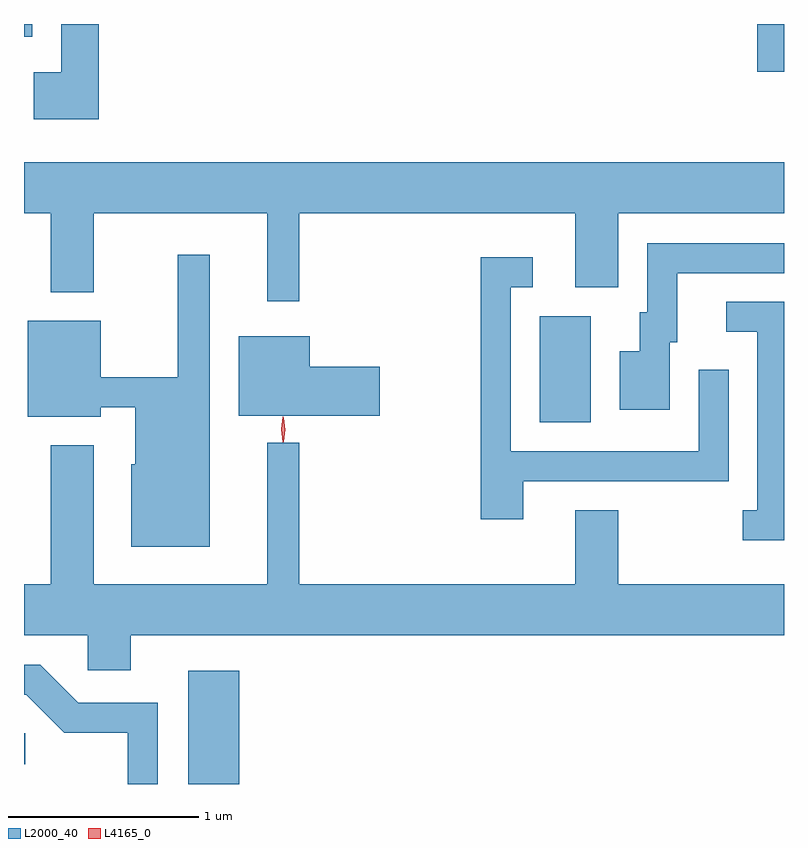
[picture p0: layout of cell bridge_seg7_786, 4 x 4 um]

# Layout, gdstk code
import gdstk
lib = gdstk.Library(unit=1e-6, precision=1e-09)
def R(c, l, rs):  # rectangles x0, y0, x1, y1
    for r in rs: c.add(gdstk.rectangle(r[:2], r[2:], *l))
def P(c, l, *ps):  # polygons
    for p in ps: c.add(gdstk.Polygon(p, *l))
L2000_40 = (2000, 40)
L4165_0 = (4165, 0)

bridge_seg7_786 = lib.new_cell('bridge_seg7_786')
R(bridge_seg7_786, L2000_40, [(378.766,1784.572,379.034,1785.169), (377.901,1784.676,377.908,1784.839), (380.616,1786.476,380.884,1787.034), (381.761,1788.321,381.901,1788.572), (377.901,1788.506,377.944,1788.572)])
P(bridge_seg7_786, L2000_40, [(378.294,1788.572),(378.096,1788.572),(378.096,1788.319),(377.951,1788.319),(377.951,1788.071),(378.294,1788.071)],
  [(379.349,1787.576),(380.801,1787.576),(380.801,1787.186),(381.029,1787.186),(381.029,1787.576),(381.901,1787.576),(381.901,1787.844),(377.901,1787.844),(377.901,1787.576),(378.041,1787.576),(378.041,1787.161),(378.269,1787.161),(378.269,1787.576),(379.181,1787.576),(379.181,1787.113),(379.349,1787.113)],
  [(381.299,1786.896),(381.339,1786.896),(381.339,1787.261),(381.901,1787.261),(381.901,1787.419),(381.181,1787.419),(381.181,1787.054),(381.141,1787.054),(381.141,1786.849),(381.036,1786.849),(381.036,1786.541),(381.299,1786.541)],
  [(378.879,1787.358),(378.711,1787.358),(378.711,1786.714),(378.304,1786.714),(378.304,1787.009),(377.921,1787.009),(377.921,1786.506),(378.304,1786.506),(378.304,1786.556),(378.486,1786.556),(378.486,1786.254),(378.466,1786.254),(378.466,1785.821),(378.879,1785.821)],
  [(380.529,1786.166),(381.609,1786.166),(381.609,1786.753),(381.451,1786.753),(381.451,1786.324),(380.464,1786.324),(380.464,1787.186),(380.578,1787.186),(380.578,1787.344),(380.306,1787.344),(380.306,1785.966),(380.529,1785.966)],
  [(381.901,1787.109),(381.598,1787.109),(381.598,1786.951),(381.761,1786.951),(381.761,1786.014),(381.683,1786.014),(381.683,1785.856),(381.901,1785.856)],
  [(379.774,1786.769),(379.404,1786.769),(379.404,1786.929),(379.031,1786.929),(379.031,1786.511),(379.774,1786.511)],
  [(378.464,1785.356),(381.901,1785.356),(381.901,1785.624),(381.029,1785.624),(381.029,1786.014),(380.801,1786.014),(380.801,1785.624),(379.349,1785.624),(379.349,1786.368),(379.181,1786.368),(379.181,1785.624),(378.269,1785.624),(378.269,1786.354),(378.041,1786.354),(378.041,1785.624),(377.901,1785.624),(377.901,1785.356),(378.236,1785.356),(378.236,1785.171),(378.464,1785.171)],
  [(378.604,1784.999),(378.187,1784.999),(377.987,1785.199),(377.901,1785.199),(377.901,1785.041),(377.914,1785.041),(378.114,1784.841),(378.446,1784.841),(378.446,1784.572),(378.604,1784.572)])
P(bridge_seg7_786, L4165_0, [(379.267,1786.373),(379.266,1786.374),(379.257,1786.436),(379.266,1786.5),(379.267,1786.5),(379.267,1786.5),(379.277,1786.436),(379.267,1786.374)],
  [(379.264,1786.37),(379.255,1786.438),(379.264,1786.505),(379.264,1786.506),(379.265,1786.505),(379.274,1786.438),(379.266,1786.37),(379.265,1786.37)])

lib.write_gds('bridge_seg7_786.gds')
